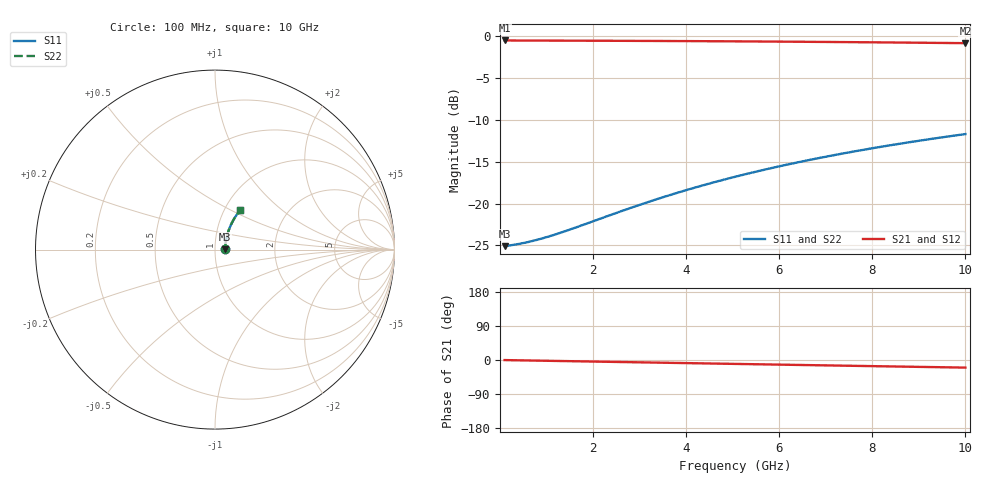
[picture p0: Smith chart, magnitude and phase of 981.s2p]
# Hz S RI R 50.00
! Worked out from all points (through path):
!   100 points, 100 MHz to 10 GHz, reference 50 ohm
!   highest |S21| = -0.50 dB at 100 MHz (marker M1); lowest = -0.8 dB at 10 GHz (marker M2)
!   group delay of S21, straight-line fit = 5.58 ps
!   lowest |S11| = -25.1 dB at 100 MHz (marker M3), VSWR 1.12, Z = 55.9 + j0.276 ohm
!   |S11| at or under -10 dB: start of sweep to end of sweep
!   |S22| runs from -25.1 to -11.7 dB; largest |S21 - S12| = 0
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1e8  0.0556 0.00246  0.9444 -0.00339  0.9444 -0.00339  0.0556 0.00246
3e8  0.0563 0.00736  0.9437 -0.0102  0.9437 -0.0102  0.0563 0.00736
5e8  0.0568 0.0123  0.9432 -0.0169  0.9432 -0.0169  0.0568 0.0123
8e8  0.0575 0.0196  0.9424 -0.027  0.9424 -0.027  0.0575 0.0196
1e9  0.0581 0.0245  0.9419 -0.0338  0.9419 -0.0338  0.0581 0.0245
1.2e9  0.0586 0.0293  0.9413 -0.0405  0.9413 -0.0405  0.0586 0.0293
1.5e9  0.0596 0.0366  0.9403 -0.0505  0.9403 -0.0505  0.0596 0.0366
1.8e9  0.0606 0.0438  0.9392 -0.0606  0.9392 -0.0606  0.0606 0.0438
2.7e9  0.0646 0.0654  0.935 -0.0905  0.935 -0.0905  0.0646 0.0654
3.1e9  0.0668 0.0749  0.9327 -0.1037  0.9327 -0.1037  0.0668 0.0749
3.4e9  0.0686 0.0819  0.9308 -0.1136  0.9308 -0.1136  0.0686 0.0819
3.8e9  0.0712 0.0913  0.9281 -0.1266  0.9281 -0.1266  0.0712 0.0913
4.2e9  0.0741 0.1005  0.9251 -0.1396  0.9251 -0.1396  0.0741 0.1005
4.6e9  0.0772 0.1096  0.9218 -0.1524  0.9218 -0.1524  0.0772 0.1096
5.1e9  0.0814 0.1209  0.9174 -0.1683  0.9174 -0.1683  0.0814 0.1209
5.5e9  0.0851 0.1297  0.9135 -0.1809  0.9135 -0.1809  0.0851 0.1297
5.9e9  0.089 0.1384  0.9094 -0.1934  0.9094 -0.1934  0.089 0.1384
6.7e9  0.0974 0.1555  0.9005 -0.2179  0.9005 -0.2179  0.0974 0.1555
7.5e9  0.1068 0.1719  0.8907 -0.2419  0.8907 -0.2419  0.1068 0.1719
8.4e9  0.1182 0.1896  0.8786 -0.268  0.8786 -0.268  0.1182 0.1896
9.2e9  0.1292 0.2046  0.8669 -0.2905  0.8669 -0.2905  0.1292 0.2046
1e10  0.1409 0.2189  0.8546 -0.3123  0.8546 -0.3123  0.1409 0.2189
